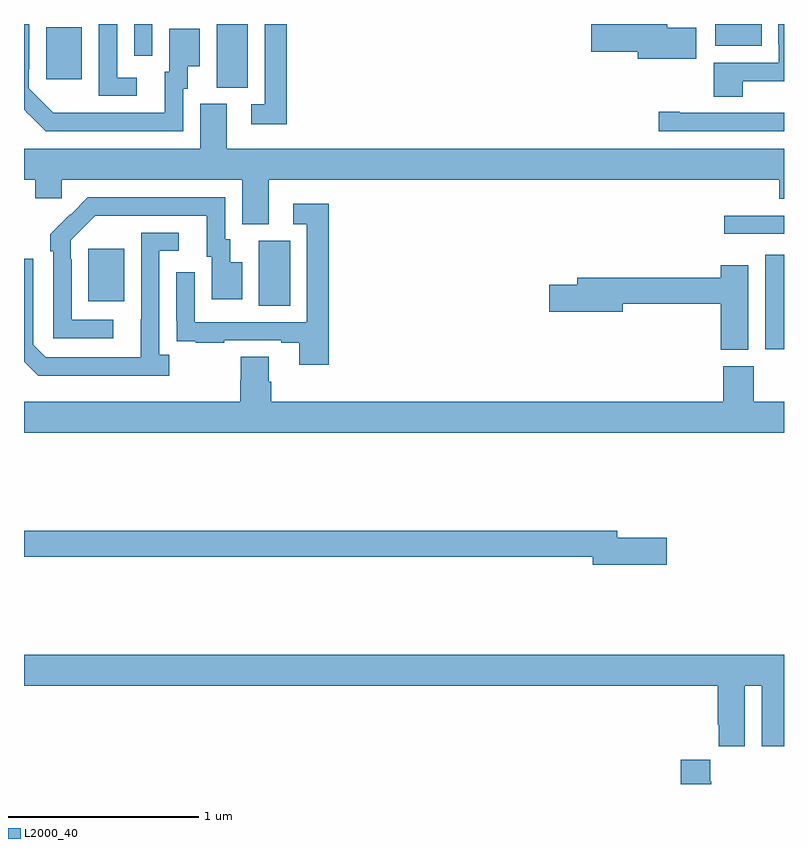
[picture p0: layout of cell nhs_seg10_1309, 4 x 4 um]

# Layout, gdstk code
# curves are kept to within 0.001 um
import gdstk
lib = gdstk.Library(unit=1e-6, precision=1e-09)
def R(c, l, rs):  # rectangles x0, y0, x1, y1
    for r in rs: c.add(gdstk.rectangle(r[:2], r[2:], *l))
def P(c, l, *ps):  # polygons
    for p in ps: c.add(gdstk.Polygon(p, *l))
L2000_40 = (2000, 40)

nhs_seg10_1309 = lib.new_cell('nhs_seg10_1309')
R(nhs_seg10_1309, L2000_40, [(182.9,1268.787,183,1269.286), (180.236,1269.016,180.4,1269.36), (179.339,1269.041,179.527,1269.316), (182.685,1269.396,183,1269.492), (180.014,1270.165,180.178,1270.5), (179.117,1270.209,179.305,1270.483), (179.58,1270.332,179.676,1270.5), (182.639,1270.385,182.884,1270.5)])
P(nhs_seg10_1309, L2000_40, [(182.539,1270.479),(182.386,1270.479),(182.386,1270.5),(181.986,1270.5),(181.986,1270.355),(182.231,1270.355),(182.231,1270.316),(182.539,1270.316)],
  [(182.782,1270.2),(183,1270.2),(183,1270.5),(182.969,1270.5),(182.969,1270.393),(182.973,1270.393),(182.973,1270.296),(182.63,1270.296),(182.63,1270.117),(182.782,1270.117)],
  [(180.383,1270.5),(180.267,1270.5),(180.267,1270.077),(180.195,1270.077),(180.195,1269.972),(180.383,1269.972)],
  [(179.838,1270.158),(179.863,1270.158),(179.863,1270.277),(179.926,1270.277),(179.926,1270.474),(179.765,1270.474),(179.765,1270.248),(179.741,1270.248),(179.741,1270.032),(179.154,1270.033),(179.025,1270.161),(179.025,1270.261),(179.028,1270.261),(179.028,1270.5),(179,1270.5),(179,1270.048),(179.022,1270.026),(179.023,1270.027),(179.114,1269.936),(179.838,1269.936)],
  [(179.593,1270.218),(179.49,1270.218),(179.49,1270.5),(179.394,1270.5),(179.394,1270.122),(179.593,1270.122)],
  [(180.289,1269.68),(182.975,1269.68),(182.975,1269.581),(183,1269.581),(183,1269.844),(180.067,1269.844),(180.067,1270.08),(179.927,1270.08),(179.927,1269.844),(179,1269.844),(179,1269.68),(179.06,1269.68),(179.06,1269.582),(179.199,1269.582),(179.199,1269.68),(180.149,1269.68),(180.149,1269.445),(180.289,1269.445)],
  [(183,1270.032),(182.452,1270.032),(182.452,1270.037),(182.34,1270.037),(182.34,1269.936),(183,1269.936)],
  [(179.47,1268.943),(179.25,1268.943),(179.25,1269.263),(179.247,1269.263),(179.247,1269.363),(179.376,1269.492),(179.963,1269.492),(179.963,1269.276),(179.987,1269.276),(179.987,1269.051),(180.148,1269.051),(180.148,1269.247),(180.085,1269.247),(180.085,1269.366),(180.06,1269.366),(180.06,1269.588),(179.336,1269.588),(179.139,1269.393),(179.139,1269.305),(179.154,1269.305),(179.154,1268.847),(179.47,1268.847)],
  [(180.605,1269.553),(180.417,1269.553),(180.417,1269.447),(180.489,1269.447),(180.489,1268.931),(179.898,1268.931),(179.898,1269.193),(179.802,1269.193),(179.802,1268.938),(179.803,1268.938),(179.803,1268.829),(179.905,1268.829),(179.905,1268.823),(180.053,1268.823),(180.053,1268.835),(180.353,1268.835),(180.353,1268.823),(180.449,1268.823),(180.449,1268.706),(180.605,1268.706)],
  [(179.764,1268.758),(179.712,1268.758),(179.712,1269.306),(179.815,1269.306),(179.815,1269.402),(179.616,1269.402),(179.615,1268.745),(179.115,1268.745),(179.049,1268.811),(179.049,1269.265),(179,1269.265),(179,1268.722),(179.074,1268.648),(179.764,1268.648)],
  [(182.812,1269.229),(182.666,1269.229),(182.666,1269.164),(181.913,1269.164),(181.913,1269.128),(181.764,1269.128),(181.764,1268.986),(182.152,1268.986),(182.152,1269.028),(182.666,1269.028),(182.666,1268.785),(182.812,1268.785)],
  [(183,1268.512),(182.841,1268.512),(182.841,1268.7),(182.681,1268.7),(182.681,1268.512),(180.302,1268.512),(180.302,1268.618),(180.289,1268.618),(180.289,1268.75),(180.142,1268.75),(180.142,1268.625),(180.137,1268.625),(180.137,1268.512),(179,1268.512),(179,1268.348),(183,1268.348)],
  [(182.383,1267.796),(182.122,1267.796),(182.122,1267.832),(179,1267.832),(179,1267.696),(181.994,1267.696),(181.994,1267.654),(182.383,1267.654)],
  [(182.794,1267.016),(182.882,1267.016),(182.882,1266.699),(183,1266.699),(183,1267.18),(179,1267.18),(179,1267.016),(182.651,1267.016),(182.651,1266.811),(182.657,1266.811),(182.657,1266.699),(182.794,1266.699)],
  [(182.616,1266.515),(182.611,1266.515),(182.611,1266.628),(182.456,1266.628),(182.456,1266.5),(182.616,1266.5)])

lib.write_gds('nhs_seg10_1309.gds')
